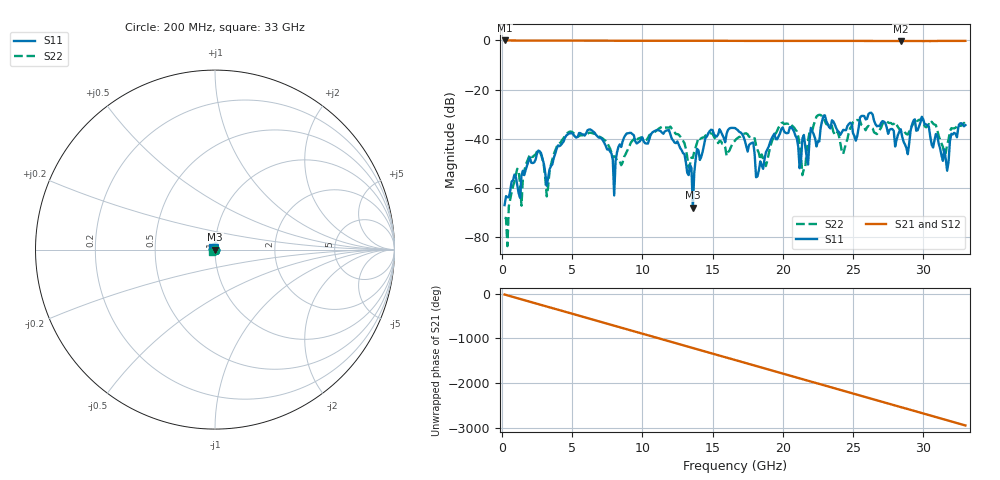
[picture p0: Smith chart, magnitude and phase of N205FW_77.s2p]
# GHZ S RI R 50
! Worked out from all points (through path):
!   329 points, 200 MHz to 33 GHz, reference 50 ohm
!   highest |S21| = -0.02 dB at 200 MHz (marker M1); lowest = -0.3 dB at 28.4 GHz (marker M2)
!   group delay of S21, straight-line fit = 248 ps
!   lowest |S11| = -68.0 dB at 13.6 GHz (marker M3), VSWR 1.00, Z = 50 + j0.038 ohm
!   |S11| at or under -10 dB: start of sweep to end of sweep
!   |S22| runs from -83.6 to -30.2 dB; largest |S21 - S12| = 0.0022
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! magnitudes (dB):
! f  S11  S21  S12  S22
! 200 MHz  -66.9  0.0  0.0  -72.1
! 2 GHz  -47.6  -0.1  -0.1  -46.3
! 3.2 GHz  -59.1  -0.1  -0.1  -63.4
! 4 GHz  -42.7  -0.1  -0.1  -42.1
! 5.7 GHz  -38.1  -0.1  -0.1  -38.6
! 7.8 GHz  -45.9  -0.1  -0.1  -45.5
! 8 GHz  -63.0  -0.1  -0.1  -47.1
! 8.8 GHz  -38.5  -0.1  -0.1  -46.4
! 11.2 GHz  -36.6  -0.2  -0.2  -35.7
! 13.5 GHz  -51.8  -0.1  -0.1  -47.6
! 13.6 GHz  -68.0  -0.1  -0.1  -47.8
! 13.9 GHz  -44.1  -0.1  -0.1  -41.6
! 16.6 GHz  -35.6  -0.2  -0.2  -40.7
! 18.1 GHz  -55.6  -0.2  -0.2  -42.6
! 20.5 GHz  -35.3  -0.2  -0.2  -33.5
! 21.2 GHz  -51.9  -0.2  -0.2  -41.9
! 21.4 GHz  -39.8  -0.2  -0.2  -54.8
! 22.1 GHz  -36.8  -0.2  -0.2  -36.8
! 27.6 GHz  -36.4  -0.3  -0.3  -33.6
! 28.4 GHz  -36.1  -0.3  -0.3  -37.0
! 31.7 GHz  -53.0  -0.2  -0.2  -42.4
! 33 GHz  -34.4  -0.2  -0.2  -33.8
